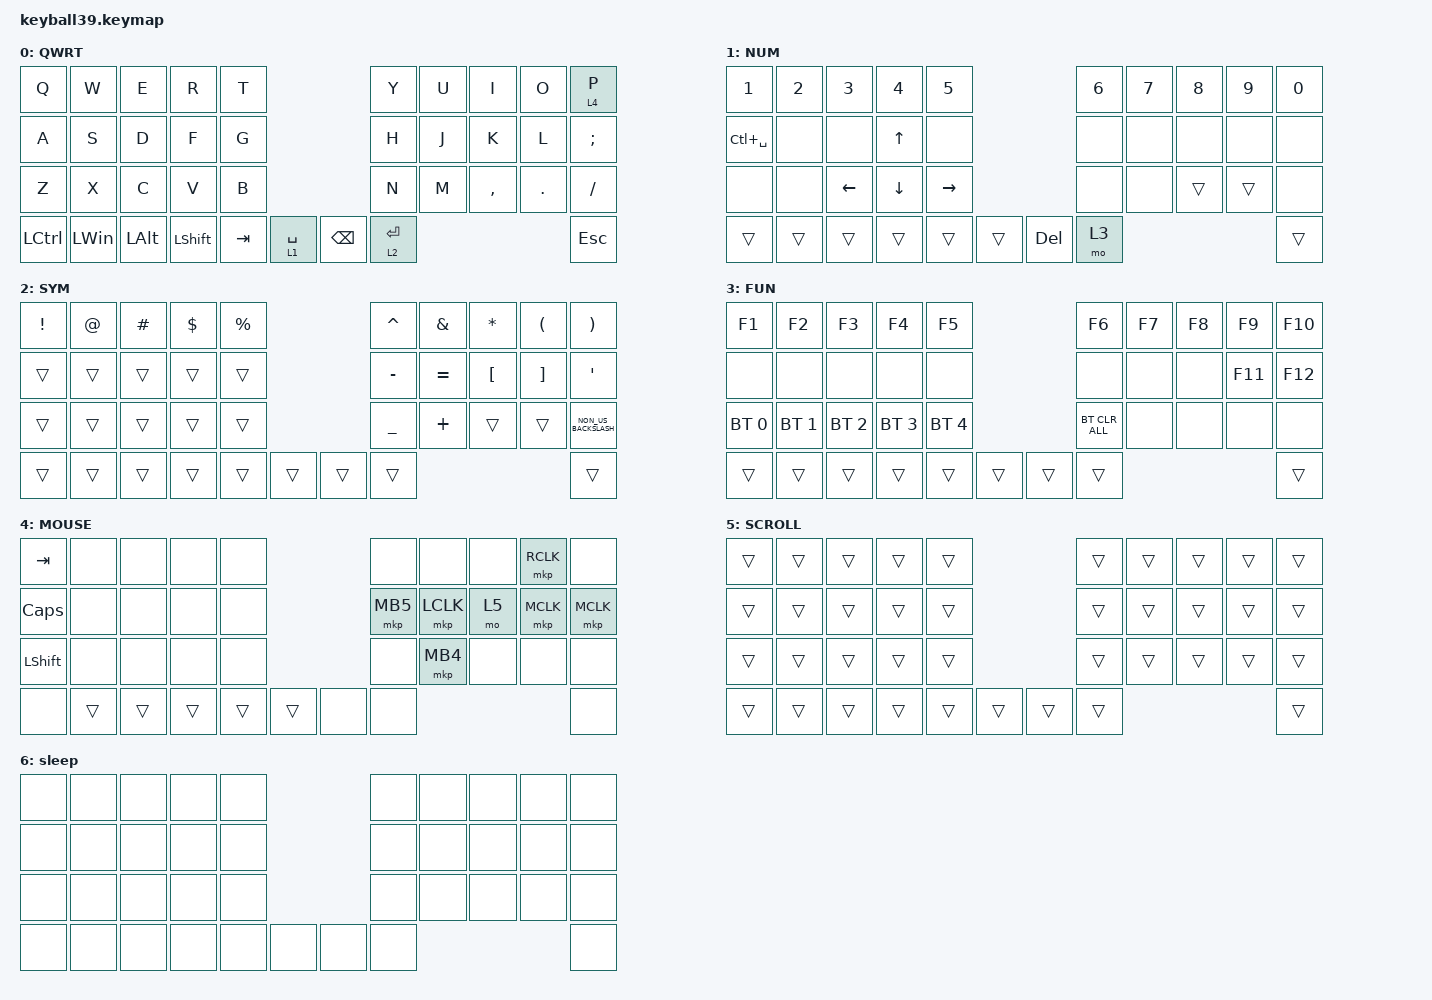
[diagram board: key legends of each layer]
#define DEFAULT 0
#define NUM     1
#define SYM     2
#define FUN     3
#define MOUSE   4
#define SCROLL  5
#define SNIPE   6

#include <behaviors/mouse_keys.dtsi>
#include <dt-bindings/zmk/mouse.h>
#include <behaviors.dtsi>
#include <dt-bindings/zmk/bt.h>
#include <dt-bindings/zmk/keys.h>
#include <dt-bindings/zmk/pointing.h>

&lt {
    tapping-term-ms = <240>;
    flavor = "balanced";
    quick-tap-ms = <150>;
};

&mt {
    tapping-term-ms = <200>;
    flavor = "tap-preferred";
    quick-tap-ms = <150>;
};

&caps_word { continue-list = <UNDERSCORE MINUS>; };

/ {
    // custom shift using mod-morph 

    behaviors {
        cmqus: comma_question {
            compatible = "zmk,behavior-mod-morph";
            label = "COMMA_QUESTION";
            #binding-cells = <0>;
            bindings = <&kp COMMA>, <&kp QUESTION>;

            mods = <(MOD_LSFT|MOD_RSFT)>;
        };

        dtsmi: dot_semi {
            compatible = "zmk,behavior-mod-morph";
            label = "DOT_SEMI";
            #binding-cells = <0>;
            bindings = <&kp DOT>, <&kp SEMI>;

            mods = <(MOD_LSFT|MOD_RSFT)>;
        };
    };

    macros {
        Hiragana: Hiragana {
            compatible = "zmk,behavior-macro";
            #binding-cells = <0>;
            bindings = <&kp LC(SPACE)>;
            label = "HIRAGANA";
        };
    };

    combos {
        compatible = "zmk,combos";

        sleep {
            bindings = <&to 6>;
            key-positions = <30 28 38>;
            layers = <0>;
        };

        unsleep {
            bindings = <&to 0>;
            key-positions = <30 28 38>;
            layers = <6>;
        };
    };

    keymap {
        compatible = "zmk,keymap";

        default_layer {
            label = "QWRT";
            bindings = <
&kp Q      &kp W         &kp E     &kp R           &kp T                                &kp Y        &kp U  &kp I      &kp O    &lt 4 P
&kp A      &kp S         &kp D     &kp F           &kp G                                &kp H        &kp J  &kp K      &kp L    &kp SEMI
&kp Z      &kp X         &kp C     &kp V           &kp B                                &kp N        &kp M  &kp COMMA  &kp DOT  &kp SLASH
&kp LCTRL  &kp LEFT_WIN  &kp LALT  &kp LEFT_SHIFT  &kp TAB  &lt 1 SPACE  &kp BACKSPACE  &lt 2 ENTER                             &kp ESCAPE
            >;
        };

        number_layer {
            label = "NUM";
            bindings = <
&kp NUMBER_1   &kp NUMBER_2  &kp NUMBER_3  &kp NUMBER_4  &kp NUMBER_5                      &kp NUMBER_6  &kp NUMBER_7  &kp NUMBER_8  &kp NUMBER_9  &kp NUMBER_0
&kp LC(SPACE)  &none         &none         &kp UP        &none                             &none         &none         &none         &none         &none
&none          &none         &kp LEFT      &kp DOWN      &kp RIGHT                         &none         &none         &trans        &trans        &none
&trans         &trans        &trans        &trans        &trans        &trans  &kp DELETE  &mo 3                                                   &trans
            >;
        };

        symbol_layer {
            label = "SYM";
            bindings = <
&kp EXCLAMATION  &kp AT_SIGN  &kp HASH  &kp DOLLAR  &kp PERCENT                  &kp CARET       &kp AMPERSAND  &kp ASTERISK      &kp LEFT_PARENTHESIS  &kp RIGHT_PARENTHESIS
&trans           &trans       &trans    &trans      &trans                       &kp MINUS       &kp EQUAL      &kp LEFT_BRACKET  &kp RIGHT_BRACKET     &kp SQT
&trans           &trans       &trans    &trans      &trans                       &kp UNDERSCORE  &kp PLUS       &trans            &trans                &kp NON_US_BACKSLASH
&trans           &trans       &trans    &trans      &trans       &trans  &trans  &trans                                                                 &trans
            >;
        };

        function_layer {
            label = "FUN";
            bindings = <
&kp F1        &kp F2        &kp F3        &kp F4        &kp F5                        &kp F6          &kp F7  &kp F8  &kp F9   &kp F10
&none         &none         &none         &none         &none                         &none           &none   &none   &kp F11  &kp F12
&bt BT_SEL 0  &bt BT_SEL 1  &bt BT_SEL 2  &bt BT_SEL 3  &bt BT_SEL 4                  &bt BT_CLR_ALL  &none   &none   &none    &none
&trans        &trans        &trans        &trans        &trans        &trans  &trans  &trans                                   &trans
            >;
        };

        mouse_layer {
            label = "MOUSE";
            bindings = <
&kp TAB         &none   &none   &none   &none                  &none     &none      &none  &mkp RCLK  &none
&kp CAPS        &none   &none   &none   &none                  &mkp MB5  &mkp LCLK  &mo 5  &mkp MCLK  &mkp MCLK
&kp LEFT_SHIFT  &none   &none   &none   &none                  &none     &mkp MB4   &none  &none      &none
&none           &trans  &trans  &trans  &trans  &trans  &none  &none                                  &none
            >;
        };

        scroll_layer {
            label = "SCROLL";
            bindings = <
&trans  &trans  &trans  &trans  &trans                  &trans  &trans  &trans  &trans  &trans
&trans  &trans  &trans  &trans  &trans                  &trans  &trans  &trans  &trans  &trans
&trans  &trans  &trans  &trans  &trans                  &trans  &trans  &trans  &trans  &trans
&trans  &trans  &trans  &trans  &trans  &trans  &trans  &trans                          &trans
            >;
        };

        sleep {
            bindings = <
&none  &none  &none  &none  &none                &none  &none  &none  &none  &none
&none  &none  &none  &none  &none                &none  &none  &none  &none  &none
&none  &none  &none  &none  &none                &none  &none  &none  &none  &none
&none  &none  &none  &none  &none  &none  &none  &none                       &none
            >;

            label = "sleep";
        };
    };
};
